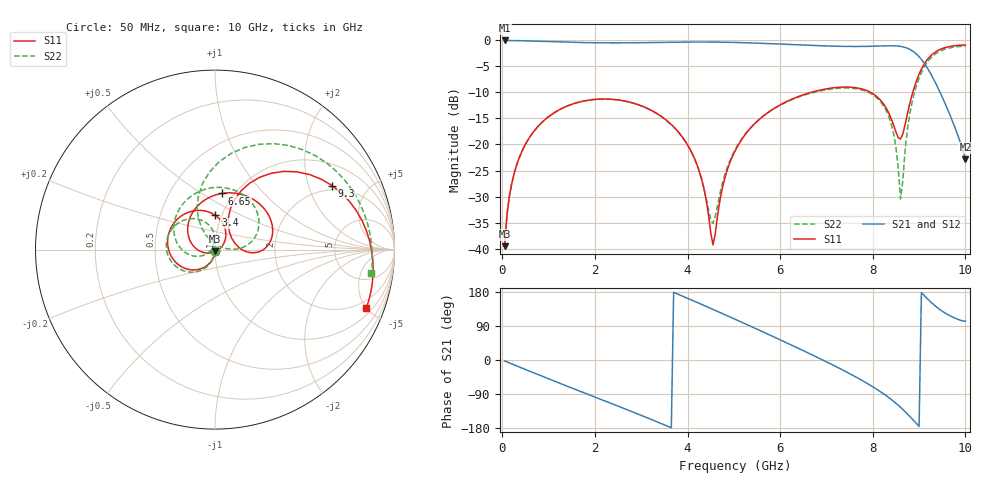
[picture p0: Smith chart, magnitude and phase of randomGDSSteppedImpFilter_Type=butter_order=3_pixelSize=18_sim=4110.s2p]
! freq	dB(S11)	phase(S11)	dB(S12)	phase(S12)
!  dB(S21)	phase(S21)	dB(S22)	phase(S22)
!S-par simulation data
#  GHz  S  DB  R 50
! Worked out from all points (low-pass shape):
!   200 points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, 50 MHz to 10 GHz, reference 50 ohm
!   highest |S21| = -0.01 dB at 50 MHz (marker M1); lowest = -22.9 dB at 10 GHz (marker M2)
!   |S21| within 3 dB of the highest: start of sweep to 8.986 GHz
!   lowest |S11| = -39.5 dB at 50 MHz (marker M3), VSWR 1.02, Z = 49.9 - j1.05 ohm
!   |S11| at or under -10 dB: start of sweep to 6.66 GHz; 7.957 GHz to 8.863 GHz (906 MHz wide, 10.8 % of centre)
!   |S22| runs from -39.5 to -1.1 dB; largest |S21 - S12| = 0
!   S11 on the Smith chart (normalised r, x): 50 MHz: 1.00, -0.02; 3.4 GHz: 0.93, +0.37; 6.65 GHz: 0.88, +0.61; 9.3 GHz: 1.80, +2.88; 10 GHz: 1.38, -4.97
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0.05  -39.54 -92.2  -0.01 -2.6  -0.01 -2.6  -39.54 -91.9
0.2  -27.67 -100.9  -0.02 -10.1  -0.02 -10.1  -27.67 -99.6
0.5  -19.96 -117.1  -0.08 -25.1  -0.08 -25.1  -19.96 -114.1
1.75  -11.66 177.7  -0.41 -85.9  -0.41 -85.9  -11.66 -170.9
2.55  -11.50 136.1  -0.47 -124.1  -0.47 -124.1  -11.51 154.3
3.4  -14.39 89.4  -0.37 -166.1  -0.37 -166.1  -14.43 117.8
4.15  -22.69 41.5  -0.30 155.0  -0.30 155.0  -22.76 91.3
4.35  -28.33 21.8  -0.30 144.4  -0.30 144.4  -28.21 94.7
4.55  -39.30 -62.4  -0.31 133.6  -0.31 133.6  -35.18 154.0
4.75  -28.44 -149.3  -0.34 122.7  -0.34 122.7  -27.56 -155.7
5.05  -20.84 -177.0  -0.39 106.3  -0.39 106.3  -20.60 -156.8
5.8  -13.47 134.0  -0.62 64.6  -0.62 64.6  -13.49 171.0
6.65  -10.03 83.0  -0.94 15.9  -0.94 15.9  -10.17 125.6
6.7  -9.90 80.1  -0.96 13.0  -0.96 13.0  -10.05 122.8
7.55  -9.01 31.9  -1.16 -39.2  -1.16 -39.2  -9.20 69.1
8.35  -14.04 -4.9  -1.03 -99.5  -1.03 -99.5  -14.74 8.1
8.5  -17.60 5.9  -1.06 -114.1  -1.06 -114.1  -20.55 0.8
8.6  -18.96 34.3  -1.15 -124.9  -1.15 -124.9  -30.47 42.7
8.85  -10.39 68.5  -1.97 -155.4  -1.97 -155.4  -11.84 112.9
9.3  -2.57 28.7  -7.21 147.8  -7.21 147.8  -2.97 54.7
9.65  -1.18 -0.3  -13.97 117.7  -13.97 117.7  -1.46 18.3
10  -0.87 -21.2  -22.87 102.3  -22.87 102.3  -1.10 -8.6
